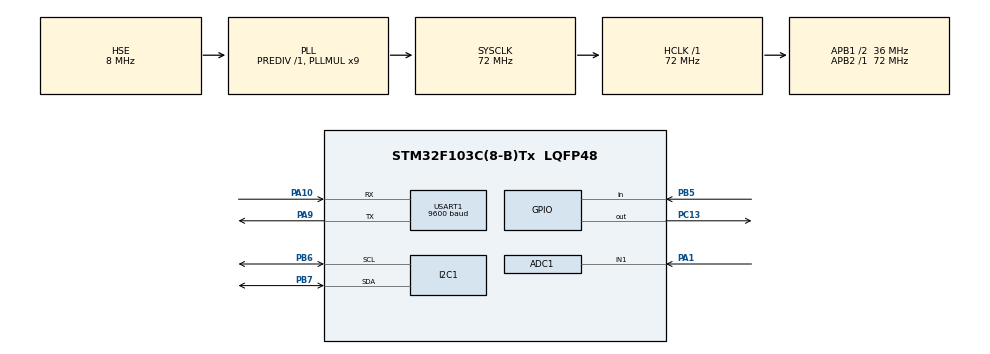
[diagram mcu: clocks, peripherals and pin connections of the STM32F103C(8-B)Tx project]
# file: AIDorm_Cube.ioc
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ADC1.Channel-1\#ChannelRegularConversion=ADC_CHANNEL_1
ADC1.NbrOfConversionFlag=1
ADC1.Rank-1\#ChannelRegularConversion=1
ADC1.SamplingTime-1\#ChannelRegularConversion=ADC_SAMPLETIME_1CYCLE_5
ADC1.master=1
Mcu.Family=STM32F1
Mcu.Name=STM32F103C(8-B)Tx
Mcu.Package=LQFP48
NVIC.PriorityGroup=NVIC_PRIORITYGROUP_4
PA1.Signal=ADCx_IN1
PA10.Mode=Asynchronous
PA10.Signal=USART1_RX
PA13.Mode=Serial_Wire
PA13.Signal=SYS_JTMS-SWDIO
PA14.Mode=Serial_Wire
PA14.Signal=SYS_JTCK-SWCLK
PA9.Mode=Asynchronous
PA9.Signal=USART1_TX
PB5.Signal=GPIO_Input
PB6.Mode=I2C
PB6.Signal=I2C1_SCL
PB7.Mode=I2C
PB7.Signal=I2C1_SDA
PC13-TAMPER-RTC.Signal=GPIO_Output
PD0-OSC_IN.Mode=HSE-External-Oscillator
PD0-OSC_IN.Signal=RCC_OSC_IN
PD1-OSC_OUT.Mode=HSE-External-Oscillator
PD1-OSC_OUT.Signal=RCC_OSC_OUT
ProjectManager.HeapSize=0x200
ProjectManager.StackSize=0x400
ProjectManager.TargetToolchain=MDK-ARM V5.32
RCC.ADCPresc=RCC_ADCPCLK2_DIV6
RCC.AHBFreq_Value=72000000
RCC.APB1CLKDivider=RCC_HCLK_DIV2
RCC.APB1Freq_Value=36000000
RCC.APB1TimFreq_Value=72000000
RCC.APB2Freq_Value=72000000
RCC.APB2TimFreq_Value=72000000
RCC.HCLKFreq_Value=72000000
RCC.PLLMUL=RCC_PLL_MUL9
RCC.PLLSourceVirtual=RCC_PLLSOURCE_HSE
RCC.SYSCLKFreq_VALUE=72000000
RCC.SYSCLKSource=RCC_SYSCLKSOURCE_PLLCLK
RCC.USBFreq_Value=72000000
SH.ADCx_IN1.0=ADC1_IN1,IN1
USART1.BaudRate=9600
USART1.VirtualMode=VM_ASYNC
board=custom

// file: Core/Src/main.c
/* USER CODE BEGIN Header */
/**
 ******************************************************************************
 * @file           : main.c
 * @brief          : Main program body
 ******************************************************************************
 * @attention
 *
 * Copyright (c) 2023 STMicroelectronics.
 * All rights reserved.
 *
 * This software is licensed under terms that can be found in the LICENSE file
 * in the root directory of this software component.
 * If no LICENSE file comes with this software, it is provided AS-IS.
 *
 ******************************************************************************
 */
/* USER CODE END Header */
#include "main.h"
#include "adc.h"
#include "i2c.h"
#include "usart.h"
#include "gpio.h"

/* USER CODE BEGIN Includes */
#include "OLED.h"
#include "SHTC3.h"
#include "SGP30.h"
/* USER CODE END Includes */

void SystemClock_Config(void);

/* USER CODE BEGIN 0 */
void getTempAndHumid(float *temp, int32_t *humid);
void getLightStrength(uint32_t *light);
void getAirQuality(uint16_t *CO2, uint16_t *TVOC);
void showTempAndHumid(float temp, int32_t humid, uint8_t lineNum);
void showLightStrength(uint32_t light, uint8_t lineNum);
void showAirQuality(uint16_t CO2, uint16_t TVOC, uint8_t lineNum);
void sendDataToBT(UART_HandleTypeDef *huart, float temp, int32_t humid, uint32_t light, uint16_t CO2, uint16_t TVOC, uint8_t light_flag);
/* USER CODE END 0 */

int main(void)
{

  /* MCU Configuration--------------------------------------------------------*/

  /* Reset of all peripherals, Initializes the Flash interface and the Systick. */
  HAL_Init();

  /* Configure the system clock */
  SystemClock_Config();

  /* Initialize all configured peripherals */
  MX_GPIO_Init();
  MX_I2C1_Init();
  MX_ADC1_Init();
  MX_USART1_UART_Init();
  /* USER CODE BEGIN 2 */
  OLED_Init();
  sgp30_init();
  /* USER CODE END 2 */

  /* Infinite loop */
  /* USER CODE BEGIN WHILE */
  uint8_t cnt = 0;
  uint8_t interval = 10;
  float temp;
  int32_t humid;
  uint32_t light;
  uint16_t CO2, TVOC;
  uint32_t light_threshold = 1800;
  uint8_t light_flag = 0;

  while (1)
  {
    OLED_Clear();
    getTempAndHumid(&temp, &humid);
    getLightStrength(&light);
    getAirQuality(&CO2, &TVOC);

    if (cnt < interval)
    {
      OLED_ShowString(20, 0, "IntelliDorm", OLED_8X16);
      showTempAndHumid(temp, humid, 1);
      showLightStrength(light, 3);
    }
    else
    {
      OLED_ShowString(8, 0, "SunnyCloudYang", OLED_8X16);
      showLightStrength(light, 1);
      showAirQuality(CO2, TVOC, 2);
    }

    sendDataToBT(&huart1, temp, humid, light, CO2, TVOC, light_flag);

    if (light < light_threshold && !light_flag)
    {
      HAL_GPIO_WritePin(GPIOC, GPIO_PIN_13, GPIO_PIN_RESET);
      light_flag = 1;
    }
    else if (light >= light_threshold && light_flag)
    {
      HAL_GPIO_WritePin(GPIOC, GPIO_PIN_13, GPIO_PIN_SET);
      light_flag = 0;
    }

    OLED_Update();
    cnt++;
    if (cnt > 2 * interval)
      cnt = 0;
    HAL_Delay(1000);
    /* USER CODE END WHILE */

  }
}

void SystemClock_Config(void)
{
  RCC_OscInitTypeDef RCC_OscInitStruct = {0};
  RCC_ClkInitTypeDef RCC_ClkInitStruct = {0};
  RCC_PeriphCLKInitTypeDef PeriphClkInit = {0};

  /** Initializes the RCC Oscillators according to the specified parameters
   * in the RCC_OscInitTypeDef structure.
   */
  RCC_OscInitStruct.OscillatorType = RCC_OSCILLATORTYPE_HSE;
  RCC_OscInitStruct.HSEState = RCC_HSE_ON;
  RCC_OscInitStruct.HSEPredivValue = RCC_HSE_PREDIV_DIV1;
  RCC_OscInitStruct.HSIState = RCC_HSI_ON;
  RCC_OscInitStruct.PLL.PLLState = RCC_PLL_ON;
  RCC_OscInitStruct.PLL.PLLSource = RCC_PLLSOURCE_HSE;
  RCC_OscInitStruct.PLL.PLLMUL = RCC_PLL_MUL9;
  if (HAL_RCC_OscConfig(&RCC_OscInitStruct) != HAL_OK)
  {
    Error_Handler();
  }

  /** Initializes the CPU, AHB and APB buses clocks
   */
  RCC_ClkInitStruct.ClockType = RCC_CLOCKTYPE_HCLK | RCC_CLOCKTYPE_SYSCLK | RCC_CLOCKTYPE_PCLK1 | RCC_CLOCKTYPE_PCLK2;
  RCC_ClkInitStruct.SYSCLKSource = RCC_SYSCLKSOURCE_PLLCLK;
  RCC_ClkInitStruct.AHBCLKDivider = RCC_SYSCLK_DIV1;
  RCC_ClkInitStruct.APB1CLKDivider = RCC_HCLK_DIV2;
  RCC_ClkInitStruct.APB2CLKDivider = RCC_HCLK_DIV1;

  if (HAL_RCC_ClockConfig(&RCC_ClkInitStruct, FLASH_LATENCY_2) != HAL_OK)
  {
    Error_Handler();
  }
  PeriphClkInit.PeriphClockSelection = RCC_PERIPHCLK_ADC;
  PeriphClkInit.AdcClockSelection = RCC_ADCPCLK2_DIV6;
  if (HAL_RCCEx_PeriphCLKConfig(&PeriphClkInit) != HAL_OK)
  {
    Error_Handler();
  }
}

/* USER CODE BEGIN 4 */
void getTempAndHumid(float *temp, int32_t *humid)
{
  int32_t temp_raw, humid_raw;
  if (!shtc3_read_id(&hi2c1))
  {
    *temp = 0;
    *humid = 0;
  }
  else
  {
    if (shtc3_perform_measurements(&hi2c1, &temp_raw, &humid_raw))
    {
      *temp = temp_raw / 100.0;
      *humid = humid_raw;
    }
    else
    {
      *temp = 0;
      *humid = 0;
    }
  }
}

void getLightStrength(uint32_t *light)
{
  HAL_ADC_Start(&hadc1);
  HAL_ADC_PollForConversion(&hadc1, 100);
  *light = 4095 - HAL_ADC_GetValue(&hadc1);
  HAL_ADC_Stop(&hadc1);
}

void getAirQuality(uint16_t *CO2, uint16_t *TVOC)
{
  sgp30_read(CO2, TVOC);
}

void showTempAndHumid(float temp, int32_t humid, uint8_t lineNum)
{
  uint8_t temp_digits = 2, humid_digits = 2;

  if (temp < -9)
    temp_digits = 3;
  if (temp > 9)
    temp_digits = 2;
  if (temp > 99)
    temp_digits = 3;

  if (humid > 9)
    humid_digits = 2;

  OLED_ShowString(1, lineNum * 16, "Temp: ", OLED_8X16);
  OLED_ShowString(1, (lineNum + 1) * 16, "Humid:", OLED_8X16);
  OLED_ShowFloatNum(80 - temp_digits * 8 - 2, lineNum * 16, temp, temp_digits, 2, OLED_8X16);
  if (temp > 0)
    OLED_ShowChar(80 - temp_digits * 8 - 2, lineNum * 16, ' ', OLED_8X16);
  OLED_DrawCircle(116, lineNum * 16 + 4, 2, 0);
  OLED_ShowNum(120 - humid_digits * 8 - 2, (lineNum + 1) * 16, humid, humid_digits, OLED_8X16);
  OLED_ShowChar(120, lineNum * 16, 'C', OLED_8X16);
  OLED_ShowChar(120, (lineNum + 1) * 16, '%', OLED_8X16);
}

void showLightStrength(uint32_t light, uint8_t lineNum)
{
  uint8_t light_digits = 1;

  if (light > 9)
    light_digits = 2;
  if (light > 99)
    light_digits = 3;
  if (light > 999)
    light_digits = 4;

  OLED_ShowString(1, lineNum * 16, "Light:", OLED_8X16);
  OLED_ShowNum(112 - light_digits * 8 - 2, lineNum * 16, light, light_digits, OLED_8X16);
  OLED_ShowString(112, lineNum * 16, "Lx", OLED_8X16);
}

void showAirQuality(uint16_t CO2, uint16_t TVOC, uint8_t lineNum)
{
  uint8_t CO2_digits = 1, TVOC_digits = 1;

  if (CO2 > 9)
    CO2_digits = 2;
  if (CO2 > 99)
    CO2_digits = 3;
  if (CO2 > 999)
    CO2_digits = 4;

  if (TVOC > 9)
    TVOC_digits = 2;
  if (TVOC > 99)
    TVOC_digits = 3;
  if (TVOC > 999)
    TVOC_digits = 4;

  OLED_ShowString(1, lineNum * 16, "CO2:", OLED_8X16);
  OLED_ShowString(1, (lineNum + 1) * 16, "TVOC:", OLED_8X16);
  OLED_ShowNum(104 - CO2_digits * 8 - 2, lineNum * 16, CO2, CO2_digits, OLED_8X16);
  OLED_ShowNum(104 - TVOC_digits * 8 - 2, (lineNum + 1) * 16, TVOC, TVOC_digits, OLED_8X16);
  OLED_ShowString(104, lineNum * 16, "ppm", OLED_8X16);
  OLED_ShowString(104, (lineNum + 1) * 16, "ppb", OLED_8X16);
}

void sendDataToBT(UART_HandleTypeDef *huart, float temp, int32_t humid, uint32_t light, uint16_t CO2, uint16_t TVOC, uint8_t light_flag)
{
  char buffer[100];
  char *light_status = light_flag ? "ON" : "OFF";

  HAL_UART_Transmit(huart, (uint8_t *)buffer, sprintf(buffer, "Temp: %.2fC\nHumid: %d%%\nLight: %dLx\nCO2: %dppm\nTVOC: %dppb\nLight Status: %s\n", temp, humid, light, CO2, TVOC, light_status), 1000);
}

/* USER CODE END 4 */

void Error_Handler(void)
{
  __disable_irq();
  while (1)
  {
  }
}
